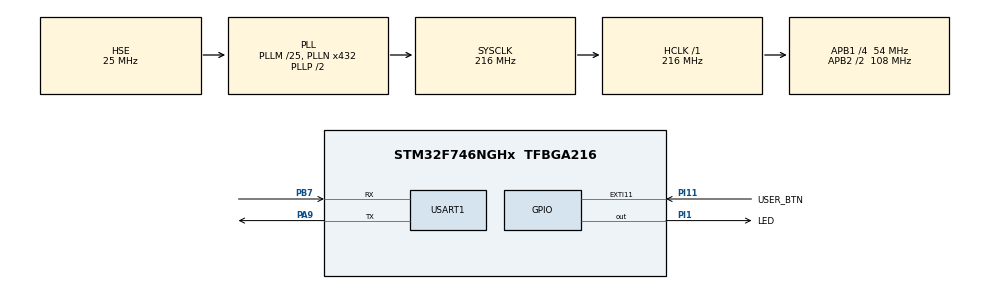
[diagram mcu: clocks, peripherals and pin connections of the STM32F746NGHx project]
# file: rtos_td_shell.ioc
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FREERTOS.Tasks01=defaultTask,0,128,StartDefaultTask,Default,NULL,Dynamic,NULL,NULL
FREERTOS.configTOTAL_HEAP_SIZE=19000
Mcu.Family=STM32F7
Mcu.Name=STM32F746NGHx
Mcu.Package=TFBGA216
NVIC.PriorityGroup=NVIC_PRIORITYGROUP_4
NVIC.TIM6_DAC_IRQn=true\:15\:0\:false\:false\:true\:false\:false\:true\:true
NVIC.TimeBase=TIM6_DAC_IRQn
NVIC.TimeBaseIP=TIM6
NVIC.USART1_IRQn=true\:6\:0\:true\:false\:true\:true\:true\:true\:true
PA13.Mode=Serial_Wire
PA13.Signal=SYS_JTMS-SWDIO
PA14.Mode=Serial_Wire
PA14.Signal=SYS_JTCK-SWCLK
PA9.Mode=Asynchronous
PA9.Signal=USART1_TX
PB7.Mode=Asynchronous
PB7.Signal=USART1_RX
PH0/OSC_IN.Mode=HSE-External-Oscillator
PH0/OSC_IN.Signal=RCC_OSC_IN
PH1/OSC_OUT.Mode=HSE-External-Oscillator
PH1/OSC_OUT.Signal=RCC_OSC_OUT
PI1.GPIO_Label=LED
PI1.Signal=GPIO_Output
PI11.GPIO_Label=USER_BTN
PI11.Signal=GPXTI11
ProjectManager.HeapSize=0x200
ProjectManager.StackSize=0x400
ProjectManager.TargetToolchain=STM32CubeIDE
RCC.AHBFreq_Value=216000000
RCC.APB1CLKDivider=RCC_HCLK_DIV4
RCC.APB1Freq_Value=54000000
RCC.APB1TimFreq_Value=108000000
RCC.APB2CLKDivider=RCC_HCLK_DIV2
RCC.APB2Freq_Value=108000000
RCC.APB2TimFreq_Value=216000000
RCC.CortexFreq_Value=216000000
RCC.HCLKFreq_Value=216000000
RCC.HSE_VALUE=25000000
RCC.HSI_VALUE=16000000
RCC.LSE_VALUE=32768
RCC.PLLM=25
RCC.PLLN=432
RCC.PLLSourceVirtual=RCC_PLLSOURCE_HSE
RCC.SYSCLKFreq_VALUE=216000000
RCC.SYSCLKSource=RCC_SYSCLKSOURCE_PLLCLK
RCC.USBFreq_Value=216000000
RCC.VCOOutputFreq_Value=432000000
USART1.VirtualMode-Asynchronous=VM_ASYNC
VP_FREERTOS_VS_CMSIS_V1.Mode=CMSIS_V1
VP_SYS_VS_tim6.Mode=TIM6
board=STM32F746G-DISCO

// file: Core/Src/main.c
/* USER CODE BEGIN Header */
/**
 ******************************************************************************
 * @file           : main.c
 * @brief          : Main program body
 ******************************************************************************
 * @attention
 *
 * Copyright (c) 2022 STMicroelectronics.
 * All rights reserved.
 *
 * This software is licensed under terms that can be found in the LICENSE file
 * in the root directory of this software component.
 * If no LICENSE file comes with this software, it is provided AS-IS.
 *
 ******************************************************************************
 */
/* USER CODE END Header */
#include "main.h"
#include "cmsis_os.h"
#include "usart.h"
#include "gpio.h"

/* USER CODE BEGIN Includes */
#include <stdio.h>
#include <stdlib.h>
#include "shell.h"
#include "uart_drv.h"
/* USER CODE END Includes */

/* USER CODE BEGIN PD */
#define STACK_DEPTH	500
#define TASK_BIDON_PRIORITY 3
/* USER CODE END PD */

/* USER CODE BEGIN PV */
h_shell_t shell;
int ledPeriod = 0;
int error=1;
TaskHandle_t ledTaskHandler;
TaskHandle_t taskBidonhandler;
char statistiques[256];
/* USER CODE END PV */

void SystemClock_Config(void);
void MX_FREERTOS_Init(void);

/* USER CODE BEGIN 0 */
int __io_putchar(int ch)
{
	HAL_UART_Transmit(&huart1, (uint8_t*)&ch, 1, HAL_MAX_DELAY);

	return ch;
}

int fonction(h_shell_t* shell, int argc, char ** argv)
{
	printf("Je suis une fonction bidon\r\n");

	return 0;
}

int ledBlink(h_shell_t* shell, int argc, char ** argv)
{
	if(argc != 2){
		printf("l should be used like this : l <int>\r\n");
	}
	else {
		ledPeriod = atoi(argv[1]);
		if(ledPeriod == 0)
			vTaskSuspend(ledTaskHandler);
		else
			vTaskResume(ledTaskHandler);
	}

	return 0;
}

static void ledTask (void * pvParameters){
	while(1){
		HAL_GPIO_TogglePin(LED_GPIO_Port, LED_Pin);
		vTaskDelay(ledPeriod);
	}
}

void taskBidon(void * pvParameters){
	printf("Tache Bidon\r\n");
}

int GetRunTimeStats(h_shell_t* shell, int argc, char ** argv){
	vTaskGetRunTimeStats((char *) &statistiques);
	printf("%s",statistiques);
	return 0;
}

/* USER CODE END 0 */

int main(void)
{

  /* MCU Configuration--------------------------------------------------------*/

  /* Reset of all peripherals, Initializes the Flash interface and the Systick. */
  HAL_Init();

  /* Configure the system clock */
  SystemClock_Config();

  /* Initialize all configured peripherals */
  MX_GPIO_Init();
  MX_USART1_UART_Init();
  /* USER CODE BEGIN 2 */
	shell.uart.receive = drv_uart_receive;
	shell.uart.transmit = drv_uart_transmit;

	drv_uart_init();

	shell_init(&shell);
	shell_add(&shell, 'f', fonction, "Une fonction inutile");
	shell_add(&shell, 'l', ledBlink, "Fait clignoter la LED");
	shell_add(&shell, 'g', GetRunTimeStats, "GetRunTimeStats");
	shell_start(&shell);
	if(pdTRUE != xTaskCreate(ledTask, "ledTask", STACK_DEPTH, (void*) NULL, 9, &ledTaskHandler)){
		printf("task failed");
		Error_Handler();
	}

	while(error){
		if(xTaskCreate(taskBidon,"task bidon",STACK_DEPTH,(void *)NULL,TASK_BIDON_PRIORITY,&taskBidonhandler)==errCOULD_NOT_ALLOCATE_REQUIRED_MEMORY){
			error=0;
			printf("errCOULD_NOT_ALLOCATE_REQUIRED_MEMORY\r\n");
		}
		else{
			printf("task bidon created\r\n");
		}
	}

	vTaskStartScheduler();
  /* USER CODE END 2 */

  /* Call init function for freertos objects (in freertos.c) */
  MX_FREERTOS_Init();

  /* Start scheduler */
  osKernelStart();

  /* We should never get here as control is now taken by the scheduler */
  /* Infinite loop */
	while (1)
	{

	}
}

void SystemClock_Config(void)
{
  RCC_OscInitTypeDef RCC_OscInitStruct = {0};
  RCC_ClkInitTypeDef RCC_ClkInitStruct = {0};

  /** Configure the main internal regulator output voltage
  */
  __HAL_RCC_PWR_CLK_ENABLE();
  __HAL_PWR_VOLTAGESCALING_CONFIG(PWR_REGULATOR_VOLTAGE_SCALE1);

  /** Initializes the RCC Oscillators according to the specified parameters
  * in the RCC_OscInitTypeDef structure.
  */
  RCC_OscInitStruct.OscillatorType = RCC_OSCILLATORTYPE_HSE;
  RCC_OscInitStruct.HSEState = RCC_HSE_ON;
  RCC_OscInitStruct.PLL.PLLState = RCC_PLL_ON;
  RCC_OscInitStruct.PLL.PLLSource = RCC_PLLSOURCE_HSE;
  RCC_OscInitStruct.PLL.PLLM = 25;
  RCC_OscInitStruct.PLL.PLLN = 432;
  RCC_OscInitStruct.PLL.PLLP = RCC_PLLP_DIV2;
  RCC_OscInitStruct.PLL.PLLQ = 2;
  if (HAL_RCC_OscConfig(&RCC_OscInitStruct) != HAL_OK)
  {
    Error_Handler();
  }

  /** Activate the Over-Drive mode
  */
  if (HAL_PWREx_EnableOverDrive() != HAL_OK)
  {
    Error_Handler();
  }

  /** Initializes the CPU, AHB and APB buses clocks
  */
  RCC_ClkInitStruct.ClockType = RCC_CLOCKTYPE_HCLK|RCC_CLOCKTYPE_SYSCLK
                              |RCC_CLOCKTYPE_PCLK1|RCC_CLOCKTYPE_PCLK2;
  RCC_ClkInitStruct.SYSCLKSource = RCC_SYSCLKSOURCE_PLLCLK;
  RCC_ClkInitStruct.AHBCLKDivider = RCC_SYSCLK_DIV1;
  RCC_ClkInitStruct.APB1CLKDivider = RCC_HCLK_DIV4;
  RCC_ClkInitStruct.APB2CLKDivider = RCC_HCLK_DIV2;

  if (HAL_RCC_ClockConfig(&RCC_ClkInitStruct, FLASH_LATENCY_7) != HAL_OK)
  {
    Error_Handler();
  }
}

void HAL_TIM_PeriodElapsedCallback(TIM_HandleTypeDef *htim)
{
  if (htim->Instance == TIM6) {
    HAL_IncTick();
  }
}

void Error_Handler(void)
{
	__disable_irq();
	while (1)
	{
	}
}
